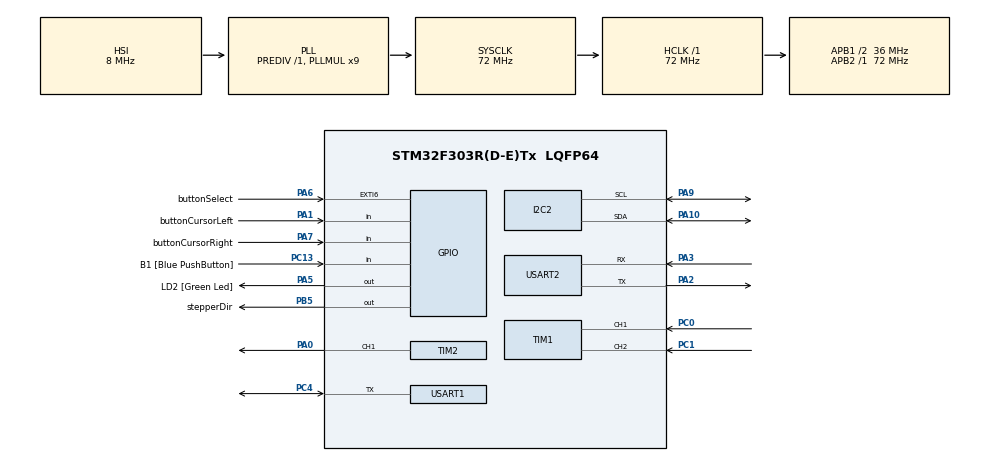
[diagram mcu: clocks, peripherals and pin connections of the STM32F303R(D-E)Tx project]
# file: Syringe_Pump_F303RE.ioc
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I2C2.Timing=0x00201D2B
Mcu.Family=STM32F3
Mcu.Name=STM32F303R(D-E)Tx
Mcu.Package=LQFP64
NVIC.EXTI9_5_IRQn=true\:5\:0\:true\:false\:true\:true\:true\:true
NVIC.I2C2_ER_IRQn=true\:5\:0\:true\:false\:true\:true\:true\:true
NVIC.I2C2_EV_IRQn=true\:5\:0\:true\:false\:true\:true\:true\:true
NVIC.PriorityGroup=NVIC_PRIORITYGROUP_4
NVIC.TIM1_UP_TIM16_IRQn=true\:5\:0\:true\:false\:true\:true\:true\:true
NVIC.TIM2_IRQn=true\:1\:0\:true\:false\:true\:true\:true\:true
NVIC.TIM6_DAC_IRQn=true\:15\:0\:false\:false\:true\:false\:true\:true
NVIC.TimeBase=TIM6_DAC_IRQn
NVIC.TimeBaseIP=TIM6
PA0.GPIO_PuPd=GPIO_PULLDOWN
PA0.Signal=S_TIM2_CH1_ETR
PA1.GPIO_Label=buttonCursorLeft
PA1.Signal=GPIO_Input
PA10.Mode=I2C
PA10.Signal=I2C2_SDA
PA13.GPIO_Label=TMS
PA13.Mode=Serial_Wire
PA13.Signal=SYS_JTMS-SWDIO
PA14.GPIO_Label=TCK
PA14.Mode=Serial_Wire
PA14.Signal=SYS_JTCK-SWCLK
PA2.GPIO_Mode=GPIO_MODE_AF_PP
PA2.GPIO_ModeDefaultOD=GPIO_MODE_AF_OD
PA2.GPIO_ModeDefaultPP=GPIO_MODE_AF_PP
PA2.GPIO_PuPd=GPIO_NOPULL
PA2.GPIO_Speed=GPIO_SPEED_FREQ_HIGH
PA2.Mode=Asynchronous
PA2.Signal=USART2_TX
PA3.GPIO_Mode=GPIO_MODE_AF_PP
PA3.GPIO_ModeDefaultPP=GPIO_MODE_AF_PP
PA3.GPIO_PuPd=GPIO_NOPULL
PA3.GPIO_Speed=GPIO_SPEED_FREQ_HIGH
PA3.Mode=Asynchronous
PA3.Signal=USART2_RX
PA5.GPIO_Label=LD2 [Green Led]
PA5.GPIO_Mode=GPIO_MODE_OUTPUT_PP
PA5.GPIO_PuPd=GPIO_NOPULL
PA5.GPIO_Speed=GPIO_SPEED_FREQ_LOW
PA5.Signal=GPIO_Output
PA6.GPIO_Label=buttonSelect
PA6.GPIO_ModeDefaultEXTI=GPIO_MODE_IT_FALLING
PA6.Signal=GPXTI6
PA7.GPIO_Label=buttonCursorRight
PA7.Signal=GPIO_Input
PA9.Mode=I2C
PA9.Signal=I2C2_SCL
PB3.GPIO_Label=SWO
PB3.Signal=SYS_JTDO-TRACESWO
PB5.GPIO_Label=stepperDir
PB5.GPIO_PuPd=GPIO_PULLDOWN
PB5.Signal=GPIO_Output
PC0.Signal=S_TIM1_CH1
PC1.Signal=S_TIM1_CH2
PC13.GPIO_Label=B1 [Blue PushButton]
PC13.Signal=GPIO_Input
PC14-OSC32_IN.Mode=LSE-External-Oscillator
PC14-OSC32_IN.Signal=RCC_OSC32_IN
PC15-OSC32_OUT.Mode=LSE-External-Oscillator
PC15-OSC32_OUT.Signal=RCC_OSC32_OUT
PC4.GPIO_Speed=GPIO_SPEED_FREQ_LOW
PC4.Mode=Half_duplex(single_wire_mode)
PC4.Signal=USART1_TX
PF0-OSC_IN.Mode=HSE-External-Clock-Source
PF0-OSC_IN.Signal=RCC_OSC_IN
PF1-OSC_OUT.Signal=RCC_OSC_OUT
ProjectManager.HeapSize=0x200
ProjectManager.StackSize=0x400
ProjectManager.TargetToolchain=CMake
RCC.AHBFreq_Value=72000000
RCC.APB1CLKDivider=RCC_HCLK_DIV2
RCC.APB1Freq_Value=36000000
RCC.APB1TimFreq_Value=72000000
RCC.APB2Freq_Value=72000000
RCC.APB2TimFreq_Value=72000000
RCC.CortexFreq_Value=72000000
RCC.HCLKFreq_Value=72000000
RCC.HSE_VALUE=8000000
RCC.HSI_VALUE=8000000
RCC.PLLM=8
RCC.PLLMUL=RCC_PLL_MUL9
RCC.PLLN=336
RCC.PLLP=RCC_PLLP_DIV4
RCC.PLLQ=7
RCC.RCC_PLLsource_Clock_Source_FROM_HSE=RCC_HSE_PREDIV_DIV2
RCC.SYSCLKFreq_VALUE=72000000
RCC.SYSCLKSourceVirtual=RCC_SYSCLKSOURCE_PLLCLK
RCC.USBFreq_Value=72000000
SH.S_TIM1_CH1.0=TIM1_CH1,Encoder_Interface
SH.S_TIM1_CH2.0=TIM1_CH2,Encoder_Interface
SH.S_TIM2_CH1_ETR.0=TIM2_CH1,PWM Generation1 CH1
TIM1.EncoderMode=TIM_ENCODERMODE_TI12
TIM1.IC1Filter=10
TIM2.Channel-PWM\ Generation1\ CH1=TIM_CHANNEL_1
USART1.BaudRate=9600
USART1.VirtualMode-Half_duplex(single_wire_mode)=VM_ASYNC
USART2.VirtualMode-Asynchronous=VM_ASYNC
VP_SYS_VS_tim6.Mode=TIM6
VP_TIM2_VS_ClockSourceINT.Mode=Internal
board=NUCLEO-F303RE

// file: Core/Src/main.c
/* USER CODE BEGIN Header */
/**
 ******************************************************************************
 * @file           : main.c
 * @brief          : Main program body
 ******************************************************************************
 * @attention
 *
 * Copyright (c) 2026 STMicroelectronics.
 * All rights reserved.
 *
 * This software is licensed under terms that can be found in the LICENSE file
 * in the root directory of this software component.
 * If no LICENSE file comes with this software, it is provided AS-IS.
 *
 ******************************************************************************
 */
/* USER CODE END Header */
#include "main.h"
#include "i2c.h"
#include "tim.h"
#include "usart.h"
#include "gpio.h"

/* USER CODE BEGIN Includes */
#include "FreeRTOS.h"
#include "task.h"
#include "queue.h"
#include "rtos_menu.h"
#include "stepper.h"
#include "liquidcrystal_i2c.h"
/* USER CODE END Includes */

/* USER CODE BEGIN PV */
// Global stepper motor control structure.
volatile StepperControl_t gStepperControl = {.MotorMode = MOTOR_MODE_NONE,
        .MotorState = MOTOR_STATE_IDLE, };
TaskHandle_t TaskInputHandle = NULL;
TaskHandle_t TaskEncoderHandle = NULL;
extern SystemState_e gSysState;
extern QueueHandle_t InputQueue;
/* USER CODE END PV */

void SystemClock_Config(void);

int main(void)
{

  /* MCU Configuration--------------------------------------------------------*/

  /* Reset of all peripherals, Initializes the Flash interface and the Systick. */
  HAL_Init();

  /* Configure the system clock */
  SystemClock_Config();

  /* Initialize all configured peripherals */
  MX_GPIO_Init();
  MX_TIM1_Init();
  MX_TIM2_Init();
  MX_USART2_UART_Init();
  MX_USART1_UART_Init();
  MX_I2C2_Init();
  /* USER CODE BEGIN 2 */
    HAL_TIM_Encoder_Start(&htim1, TIM_CHANNEL_ALL);
    stepper_init((StepperControl_t*) &gStepperControl);
    HD44780_Init(2);
    RtosMenu_Init();

	/*
	 * Create the three FreeRTOS tasks:
	 *   InputTask (prio 3): 50 Hz GPIO/encoder polling → produces input events
	 *   UITask    (prio 2): Event-driven LCD menu state machine
	 *   MotorTask (prio 4): Kinematics computation and pump monitoring
	 */
	xTaskCreate(RtosMenu_TaskInput, "InputTask", 128, NULL, 3, &TaskInputHandle);
	xTaskCreate(RtosMenu_TaskUI, "UITask", 512, NULL, 2, NULL);
	xTaskCreate(RtosMenu_TaskMotor, "MotorTask", 512, NULL, 4, NULL);
	xTaskCreate(RtosMenu_TaskEncoder, "EncoderTask", 512, NULL, 4, &TaskEncoderHandle);

	vTaskStartScheduler();
  /* USER CODE END 2 */

  /* Infinite loop */
    while (1) {

    }
}

void SystemClock_Config(void)
{
  RCC_OscInitTypeDef RCC_OscInitStruct = {0};
  RCC_ClkInitTypeDef RCC_ClkInitStruct = {0};
  RCC_PeriphCLKInitTypeDef PeriphClkInit = {0};

  /** Initializes the RCC Oscillators according to the specified parameters
  * in the RCC_OscInitTypeDef structure.
  */
  RCC_OscInitStruct.OscillatorType = RCC_OSCILLATORTYPE_HSI;
  RCC_OscInitStruct.HSIState = RCC_HSI_ON;
  RCC_OscInitStruct.HSICalibrationValue = RCC_HSICALIBRATION_DEFAULT;
  RCC_OscInitStruct.PLL.PLLState = RCC_PLL_ON;
  RCC_OscInitStruct.PLL.PLLSource = RCC_PLLSOURCE_HSI;
  RCC_OscInitStruct.PLL.PLLMUL = RCC_PLL_MUL9;
  RCC_OscInitStruct.PLL.PREDIV = RCC_PREDIV_DIV1;
  if (HAL_RCC_OscConfig(&RCC_OscInitStruct) != HAL_OK)
  {
    Error_Handler();
  }

  /** Initializes the CPU, AHB and APB buses clocks
  */
  RCC_ClkInitStruct.ClockType = RCC_CLOCKTYPE_HCLK|RCC_CLOCKTYPE_SYSCLK
                              |RCC_CLOCKTYPE_PCLK1|RCC_CLOCKTYPE_PCLK2;
  RCC_ClkInitStruct.SYSCLKSource = RCC_SYSCLKSOURCE_PLLCLK;
  RCC_ClkInitStruct.AHBCLKDivider = RCC_SYSCLK_DIV1;
  RCC_ClkInitStruct.APB1CLKDivider = RCC_HCLK_DIV2;
  RCC_ClkInitStruct.APB2CLKDivider = RCC_HCLK_DIV1;

  if (HAL_RCC_ClockConfig(&RCC_ClkInitStruct, FLASH_LATENCY_2) != HAL_OK)
  {
    Error_Handler();
  }
  PeriphClkInit.PeriphClockSelection = RCC_PERIPHCLK_USART1|RCC_PERIPHCLK_USART2
                              |RCC_PERIPHCLK_I2C2|RCC_PERIPHCLK_TIM1
                              |RCC_PERIPHCLK_TIM2;
  PeriphClkInit.Usart1ClockSelection = RCC_USART1CLKSOURCE_PCLK2;
  PeriphClkInit.Usart2ClockSelection = RCC_USART2CLKSOURCE_PCLK1;
  PeriphClkInit.I2c2ClockSelection = RCC_I2C2CLKSOURCE_HSI;
  PeriphClkInit.Tim1ClockSelection = RCC_TIM1CLK_HCLK;
  PeriphClkInit.Tim2ClockSelection = RCC_TIM2CLK_HCLK;
  if (HAL_RCCEx_PeriphCLKConfig(&PeriphClkInit) != HAL_OK)
  {
    Error_Handler();
  }
}

/* USER CODE BEGIN 4 */
void HAL_GPIO_EXTI_Callback(uint16_t GPIO_Pin)
{
  if (GPIO_Pin == buttonSelect_Pin)
  {
    if (HAL_GPIO_ReadPin(buttonSelect_GPIO_Port, buttonSelect_Pin) == GPIO_PIN_RESET)
    {
      if (gSysState == SYS_PUMPING || gSysState == SYS_PUMPING_CALIBRATION)
      {
        BaseType_t xHigherPriorityTaskWoken = pdFALSE;

        if (InputQueue != NULL) {
          InputMessage_t msg;
          msg.event = EVENT_BTN_SELECT_PRESS;
          msg.timestamp = xTaskGetTickCountFromISR();
          xQueueSendFromISR(InputQueue, &msg, &xHigherPriorityTaskWoken);
        }

        portYIELD_FROM_ISR(xHigherPriorityTaskWoken);
      }
    }
  }
}

void HAL_I2C_MemRxCpltCallback(I2C_HandleTypeDef *hi2c)
{
    if (hi2c->Instance == I2C2)
    {
        BaseType_t xHigherPriorityTaskWoken = pdFALSE;
        if (TaskEncoderHandle != NULL) {
            vTaskNotifyGiveFromISR(TaskEncoderHandle, &xHigherPriorityTaskWoken);
            portYIELD_FROM_ISR(xHigherPriorityTaskWoken);
        }
    }
}
/* USER CODE END 4 */

void HAL_TIM_PeriodElapsedCallback(TIM_HandleTypeDef *htim)
{
  if (htim->Instance == TIM6)
  {
    HAL_IncTick();
  }
  /* USER CODE BEGIN Callback 1 */
    /*
     * ===================================================================
     * TIM2 Stepper Motor State Machine (ISR context)
     *
     * Called once per TIM2 period (one step pulse). Executes the
     * trapezoidal motion profile by advancing through three phases:
     *
     *   ACCEL → CRUISE → DECEL → IDLE
     *
     * The S-curve lookup table (populated by stepper_start) is read
     * forward during acceleration and backward during deceleration.
     * ARR values are updated each step to change the pulse frequency.
     * ===================================================================
     */

    /* Only process TIM2 interrupts (ignore TIM16 systick, etc.) */
    if (htim->Instance != TIM2) {
        return;
    }

    if (gStepperControl.MotorState == MOTOR_STATE_IDLE) {
        return;
    }

    gStepperControl.totalStepsRemaining--;

    switch (gStepperControl.MotorState)
    {

        /* --- ACCELERATION PHASE ---
         * Walk forward through the lookup table, increasing frequency each step.
         * Transition to CRUISE when all accel steps are consumed, or directly
         * to DECEL if the move is too short for a cruise phase (triangular profile).
         */
        case MOTOR_STATE_ACCEL:
            gStepperControl.rampStepCounter++;
            if (gStepperControl.rampStepCounter >= gStepperControl.accelSteps) {
                /* Acceleration complete — max frequency */
                float currentFreq = gStepperControl.startFreqHz + gStepperControl.freqDiff;
                gStepperControl.ARRCurrent = (uint32_t)((float)TIMER_CLOCK / ((PRESCALER + 1) * currentFreq)) - 1;
                gStepperControl.MotorState = MOTOR_STATE_CRUISE;
            }
            else {
                /* Still accelerating — interpolate from s_curve_norm table */
                float exact_index = ((float)gStepperControl.rampStepCounter * 255.0f) / (float)gStepperControl.accelSteps;
                uint32_t index_int = (uint32_t)exact_index;
                float fraction = exact_index - (float)index_int;

                if (index_int >= 255) {
                    index_int = 254;
                    fraction = 1.0f;
                }

                float scale = s_curve_norm[index_int] + ((s_curve_norm[index_int + 1] - s_curve_norm[index_int]) * fraction);
                float currentFreq = gStepperControl.startFreqHz + (gStepperControl.freqDiff * scale);

                gStepperControl.ARRCurrent = (uint32_t)((float)TIMER_CLOCK / ((PRESCALER + 1) * currentFreq)) - 1;
            }

            /* Early decel check: handles triangular profile (no cruise phase) */
            if (gStepperControl.totalStepsRemaining <= gStepperControl.accelSteps) {
                gStepperControl.MotorState = MOTOR_STATE_DECEL;
            }
            break;

            /* --- CRUISE PHASE ---
             * ARR stays constant at the maximum frequency. Wait until remaining
             * steps equal the accel step count, then begin deceleration.
             * while manual mode, deceleration set by button state from TaskUI
             */
        case MOTOR_STATE_CRUISE:
            if ( (gStepperControl.totalStepsRemaining <= gStepperControl.accelSteps) && gStepperControl.MotorMode != MOTOR_MODE_MANUAL) {
                gStepperControl.MotorState = MOTOR_STATE_DECEL;
            }
            /* ARR remains constant — no update needed */
            break;

            /* --- DECELERATION PHASE ---
             * Walk backward through the same lookup table (mirror of acceleration).
             * rampStepCounter decrements toward 0, producing a symmetric slowdown.
             */
        case MOTOR_STATE_DECEL:
            /* Decrement step counter, stopping at 0 to prevent unsigned underflow */
            if (gStepperControl.rampStepCounter > 0) {
                gStepperControl.rampStepCounter--;
            }

            /* Interpolate the corresponding ARR value from the lookup table */
            if (gStepperControl.rampStepCounter < gStepperControl.accelSteps) {
                float exact_index = ((float)gStepperControl.rampStepCounter * 255.0f) / (float)gStepperControl.accelSteps;
                uint32_t index_int = (uint32_t)exact_index;
                float fraction = exact_index - (float)index_int;

                if (index_int >= 255) {
                    index_int = 254;
                    fraction = 1.0f;
                }

                float scale = s_curve_norm[index_int] + ((s_curve_norm[index_int + 1] - s_curve_norm[index_int]) * fraction);
                float currentFreq = gStepperControl.startFreqHz + (gStepperControl.freqDiff * scale);

                gStepperControl.ARRCurrent = (uint32_t)((float)TIMER_CLOCK / ((PRESCALER + 1) * currentFreq)) - 1;
            }
            break;

        default:
            /* Safety fallback: unknown state → stop motor */
            gStepperControl.MotorState = MOTOR_STATE_IDLE;
            gStepperControl.MotorMode = MOTOR_MODE_NONE;
            break;
    }

    /* --- Move completion check --- */
    if (gStepperControl.totalStepsRemaining == 0) {
        /* All steps executed — stop timer and PWM, return to idle */
        HAL_TIM_Base_Stop_IT(&htim2);
        HAL_TIM_PWM_Stop(&htim2, TIM_CHANNEL_1);
        gStepperControl.MotorState = MOTOR_STATE_IDLE;
        gStepperControl.MotorMode = MOTOR_MODE_NONE;
    }
    else if (gStepperControl.rampStepCounter < 1 && gStepperControl.MotorState == MOTOR_STATE_DECEL) {
        HAL_TIM_Base_Stop_IT(&htim2);
        HAL_TIM_PWM_Stop(&htim2, TIM_CHANNEL_1);

        if (gStepperControl.MotorMode == MOTOR_MODE_MANUAL) {
            /* Manual move finished */
            gStepperControl.totalStepsRemaining = 0;
            gStepperControl.MotorState = MOTOR_STATE_IDLE;
            gStepperControl.MotorMode = MOTOR_MODE_NONE;
        }
        else {
            /* Motor decelerated to a stop, but steps remain (paused) */
            gStepperControl.MotorState = MOTOR_STATE_PAUSED;
        }
    }
    else {
        /*
         * Apply the new ARR value for the next pulse period.
         * Compare value = ARR/2 maintains 50% duty cycle at all speeds.
         */
        __HAL_TIM_SET_AUTORELOAD(htim, gStepperControl.ARRCurrent);
        __HAL_TIM_SET_COMPARE(htim, TIM_CHANNEL_1,
                gStepperControl.ARRCurrent / 2);
    }

  /* USER CODE END Callback 1 */
}

void Error_Handler(void)
{
    __disable_irq();
    while (1) {
    }
}
